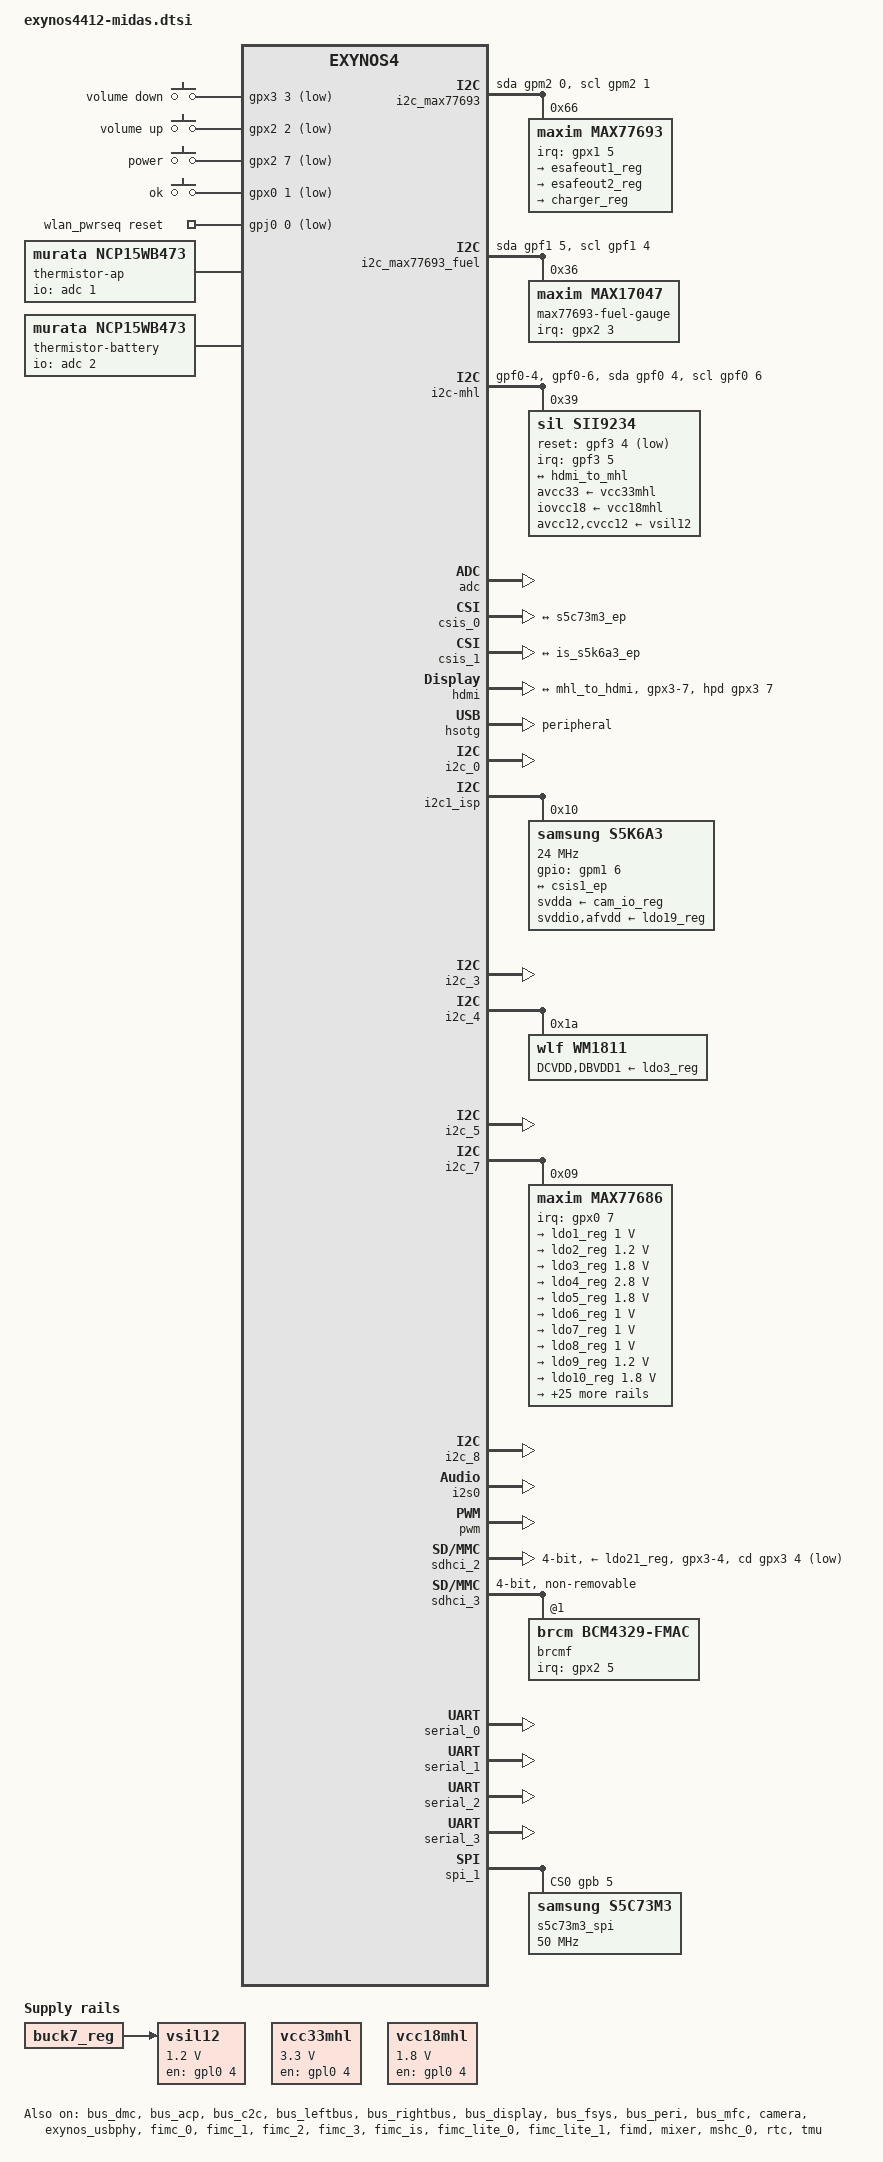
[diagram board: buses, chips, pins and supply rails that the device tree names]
// SPDX-License-Identifier: GPL-2.0
/*
 * Samsung's Exynos4412 based Trats 2 board device tree source
 *
 * Copyright (c) 2013 Samsung Electronics Co., Ltd.
 *		http://www.samsung.com
 *
 * Device tree source file for Samsung's Trats 2 board which is based on
 * Samsung's Exynos4412 SoC.
 */

/dts-v1/;
#include "exynos4412.dtsi"
#include "exynos4412-ppmu-common.dtsi"
#include <dt-bindings/gpio/gpio.h>
#include <dt-bindings/interrupt-controller/irq.h>
#include <dt-bindings/clock/maxim,max77686.h>
#include <dt-bindings/pinctrl/samsung.h>

/ {
	compatible = "samsung,midas", "samsung,exynos4412", "samsung,exynos4";

	aliases {
		i2c11 = &i2c_max77693;
		i2c12 = &i2c_max77693_fuel;
	};

	chosen {
		stdout-path = &serial_2;
	};

	firmware@204f000 {
		compatible = "samsung,secure-firmware";
		reg = <0x0204F000 0x1000>;
	};

	fixed-rate-clocks {
		xxti {
			compatible = "samsung,clock-xxti", "fixed-clock";
			clock-frequency = <0>;
		};

		xusbxti {
			compatible = "samsung,clock-xusbxti", "fixed-clock";
			clock-frequency = <24000000>;
		};
	};

	cam_io_reg: voltage-regulator-1 {
		compatible = "regulator-fixed";
		regulator-name = "CAM_SENSOR_A";
		regulator-min-microvolt = <2800000>;
		regulator-max-microvolt = <2800000>;
		enable-active-high;
		status = "disabled";
	};

	cam_af_reg: voltage-regulator-2 {
		compatible = "regulator-fixed";
		regulator-name = "CAM_AF";
		regulator-min-microvolt = <2800000>;
		regulator-max-microvolt = <2800000>;
		enable-active-high;
		status = "disabled";
	};

	vsil12: voltage-regulator-3 {
		compatible = "regulator-fixed";
		regulator-name = "VSIL_1.2V";
		regulator-min-microvolt = <1200000>;
		regulator-max-microvolt = <1200000>;
		gpio = <&gpl0 4 GPIO_ACTIVE_HIGH>;
		enable-active-high;
		vin-supply = <&buck7_reg>;
	};

	vcc33mhl: voltage-regulator-4 {
		compatible = "regulator-fixed";
		regulator-name = "VCC_3.3_MHL";
		regulator-min-microvolt = <3300000>;
		regulator-max-microvolt = <3300000>;
		gpio = <&gpl0 4 GPIO_ACTIVE_HIGH>;
		enable-active-high;
	};

	vcc18mhl: voltage-regulator-5 {
		compatible = "regulator-fixed";
		regulator-name = "VCC_1.8_MHL";
		regulator-min-microvolt = <1800000>;
		regulator-max-microvolt = <1800000>;
		gpio = <&gpl0 4 GPIO_ACTIVE_HIGH>;
		enable-active-high;
	};

	gpio-keys {
		compatible = "gpio-keys";
		pinctrl-names = "default";
		pinctrl-0 = <&gpio_keys>;

		key-down {
			gpios = <&gpx3 3 GPIO_ACTIVE_LOW>;
			linux,code = <114>;
			label = "volume down";
			debounce-interval = <10>;
		};

		key-up {
			gpios = <&gpx2 2 GPIO_ACTIVE_LOW>;
			linux,code = <115>;
			label = "volume up";
			debounce-interval = <10>;
		};

		key-power {
			gpios = <&gpx2 7 GPIO_ACTIVE_LOW>;
			linux,code = <116>;
			label = "power";
			debounce-interval = <10>;
			wakeup-source;
		};

		key-ok {
			gpios = <&gpx0 1 GPIO_ACTIVE_LOW>;
			linux,code = <139>;
			label = "ok";
			debounce-interval = <10>;
			wakeup-source;
		};
	};

	i2c_max77693: i2c-gpio-1 {
		compatible = "i2c-gpio";
		gpios = <&gpm2 0 GPIO_ACTIVE_HIGH>, <&gpm2 1 GPIO_ACTIVE_HIGH>;
		i2c-gpio,delay-us = <2>;
		#address-cells = <1>;
		#size-cells = <0>;
		status = "okay";

		max77693@66 {
			compatible = "maxim,max77693";
			interrupt-parent = <&gpx1>;
			interrupts = <5 IRQ_TYPE_EDGE_FALLING>;
			pinctrl-names = "default";
			pinctrl-0 = <&max77693_irq>;
			reg = <0x66>;

			regulators {
				esafeout1_reg: ESAFEOUT1 {
					regulator-name = "ESAFEOUT1";
				};
				esafeout2_reg: ESAFEOUT2 {
					regulator-name = "ESAFEOUT2";
				};
				charger_reg: CHARGER {
					regulator-name = "CHARGER";
					regulator-min-microamp = <60000>;
					regulator-max-microamp = <2580000>;
				};
			};

			max77693_haptic {
				compatible = "maxim,max77693-haptic";
				haptic-supply = <&ldo26_reg>;
				pwms = <&pwm 0 38022 0>;
			};

			charger {
				compatible = "maxim,max77693-charger";

				maxim,constant-microvolt = <4350000>;
				maxim,min-system-microvolt = <3600000>;
				maxim,thermal-regulation-celsius = <100>;
				maxim,battery-overcurrent-microamp = <3500000>;
				maxim,charge-input-threshold-microvolt = <4300000>;
			};
		};
	};

	i2c_max77693_fuel: i2c-gpio-3 {
		compatible = "i2c-gpio";
		gpios = <&gpf1 5 GPIO_ACTIVE_HIGH>, <&gpf1 4 GPIO_ACTIVE_HIGH>;
		i2c-gpio,delay-us = <2>;
		#address-cells = <1>;
		#size-cells = <0>;
		status = "okay";

		max77693-fuel-gauge@36 {
			compatible = "maxim,max17047";
			interrupt-parent = <&gpx2>;
			interrupts = <3 IRQ_TYPE_EDGE_FALLING>;
			pinctrl-names = "default";
			pinctrl-0 = <&max77693_fuel_irq>;
			reg = <0x36>;

			maxim,over-heat-temp = <700>;
			maxim,over-volt = <4500>;
		};
	};

	i2c-mhl {
		compatible = "i2c-gpio";
		gpios = <&gpf0 4 GPIO_ACTIVE_HIGH>, <&gpf0 6 GPIO_ACTIVE_HIGH>;
		i2c-gpio,delay-us = <100>;
		#address-cells = <1>;
		#size-cells = <0>;

		pinctrl-0 = <&i2c_mhl_bus>;
		pinctrl-names = "default";
		status = "okay";

		sii9234: hdmi-bridge@39 {
			compatible = "sil,sii9234";
			avcc33-supply = <&vcc33mhl>;
			iovcc18-supply = <&vcc18mhl>;
			avcc12-supply = <&vsil12>;
			cvcc12-supply = <&vsil12>;
			reset-gpios = <&gpf3 4 GPIO_ACTIVE_LOW>;
			interrupt-parent = <&gpf3>;
			interrupts = <5 IRQ_TYPE_LEVEL_HIGH>;
			reg = <0x39>;

			port {
				mhl_to_hdmi: endpoint {
					remote-endpoint = <&hdmi_to_mhl>;
				};
			};
		};
	};

	wlan_pwrseq: sdhci3-pwrseq {
		compatible = "mmc-pwrseq-simple";
		reset-gpios = <&gpj0 0 GPIO_ACTIVE_LOW>;
		clocks = <&max77686 MAX77686_CLK_PMIC>;
		clock-names = "ext_clock";
	};

	sound {
		compatible = "samsung,trats2-audio";
		samsung,i2s-controller = <&i2s0>;
		samsung,model = "Trats2";
		samsung,audio-codec = <&wm1811>;
		samsung,audio-routing =
			"SPK", "SPKOUTLN",
			"SPK", "SPKOUTLP",
			"SPK", "SPKOUTRN",
			"SPK", "SPKOUTRP";
	};

	thermistor-ap {
		compatible = "murata,ncp15wb473";
		pullup-uv = <1800000>;	 /* VCC_1.8V_AP */
		pullup-ohm = <100000>;	 /* 100K */
		pulldown-ohm = <100000>; /* 100K */
		io-channels = <&adc 1>;  /* AP temperature */
	};

	thermistor-battery {
		compatible = "murata,ncp15wb473";
		pullup-uv = <1800000>;	 /* VCC_1.8V_AP */
		pullup-ohm = <100000>;	 /* 100K */
		pulldown-ohm = <100000>; /* 100K */
		io-channels = <&adc 2>;  /* Battery temperature */
	};

	thermal-zones {
		cpu_thermal: cpu-thermal {
			cooling-maps {
				map0 {
				     /* Corresponds to 800MHz at freq_table */
				     cooling-device = <&cpu0 7 7>;
				};
				map1 {
				     /* Corresponds to 200MHz at freq_table */
				     cooling-device = <&cpu0 13 13>;
			       };
		       };
		};
	};
};

&adc {
	vdd-supply = <&ldo3_reg>;
	status = "okay";
};

&bus_dmc {
	devfreq-events = <&ppmu_dmc0_3>, <&ppmu_dmc1_3>;
	vdd-supply = <&buck1_reg>;
	status = "okay";
};

&bus_acp {
	devfreq = <&bus_dmc>;
	status = "okay";
};

&bus_c2c {
	devfreq = <&bus_dmc>;
	status = "okay";
};

&bus_leftbus {
	devfreq-events = <&ppmu_leftbus_3>, <&ppmu_rightbus_3>;
	vdd-supply = <&buck3_reg>;
	status = "okay";
};

&bus_rightbus {
	devfreq = <&bus_leftbus>;
	status = "okay";
};

&bus_display {
	devfreq = <&bus_leftbus>;
	status = "okay";
};

&bus_fsys {
	devfreq = <&bus_leftbus>;
	status = "okay";
};

&bus_peri {
	devfreq = <&bus_leftbus>;
	status = "okay";
};

&bus_mfc {
	devfreq = <&bus_leftbus>;
	status = "okay";
};

&camera {
	pinctrl-0 = <&cam_port_a_clk_active &cam_port_b_clk_active>;
	pinctrl-names = "default";
	status = "okay";
	assigned-clocks = <&clock CLK_MOUT_CAM0>,
		<&clock CLK_MOUT_CAM1>;
	assigned-clock-parents = <&clock CLK_XUSBXTI>,
		<&clock CLK_XUSBXTI>;
};

&cpu0 {
	cpu0-supply = <&buck2_reg>;
};

&csis_0 {
	status = "okay";
	vddcore-supply = <&ldo8_reg>;
	vddio-supply = <&ldo10_reg>;
	assigned-clocks = <&clock CLK_MOUT_CSIS0>,
			<&clock CLK_SCLK_CSIS0>;
	assigned-clock-parents = <&clock CLK_MOUT_MPLL_USER_T>;
	assigned-clock-rates = <0>, <176000000>;

	/* Camera C (3) MIPI CSI-2 (CSIS0) */
	port@3 {
		reg = <3>;
		csis0_ep: endpoint {
			remote-endpoint = <&s5c73m3_ep>;
			data-lanes = <1 2 3 4>;
			samsung,csis-hs-settle = <12>;
		};
	};
};

&csis_1 {
	status = "okay";
	vddcore-supply = <&ldo8_reg>;
	vddio-supply = <&ldo10_reg>;
	assigned-clocks = <&clock CLK_MOUT_CSIS1>,
			<&clock CLK_SCLK_CSIS1>;
	assigned-clock-parents = <&clock CLK_MOUT_MPLL_USER_T>;
	assigned-clock-rates = <0>, <176000000>;

	/* Camera D (4) MIPI CSI-2 (CSIS1) */
	port@4 {
		reg = <4>;
		csis1_ep: endpoint {
			remote-endpoint = <&is_s5k6a3_ep>;
			data-lanes = <1>;
			samsung,csis-hs-settle = <18>;
			samsung,csis-wclk;
		};
	};
};

&dsi_0 {
	vddcore-supply = <&ldo8_reg>;
	vddio-supply = <&ldo10_reg>;
	samsung,burst-clock-frequency = <500000000>;
	samsung,esc-clock-frequency = <20000000>;
	samsung,pll-clock-frequency = <24000000>;
};

&exynos_usbphy {
	vbus-supply = <&esafeout1_reg>;
	status = "okay";
};

&fimc_0 {
	status = "okay";
	assigned-clocks = <&clock CLK_MOUT_FIMC0>,
			<&clock CLK_SCLK_FIMC0>;
	assigned-clock-parents = <&clock CLK_MOUT_MPLL_USER_T>;
	assigned-clock-rates = <0>, <176000000>;
};

&fimc_1 {
	status = "okay";
	assigned-clocks = <&clock CLK_MOUT_FIMC1>,
			<&clock CLK_SCLK_FIMC1>;
	assigned-clock-parents = <&clock CLK_MOUT_MPLL_USER_T>;
	assigned-clock-rates = <0>, <176000000>;
};

&fimc_2 {
	status = "okay";
	assigned-clocks = <&clock CLK_MOUT_FIMC2>,
			<&clock CLK_SCLK_FIMC2>;
	assigned-clock-parents = <&clock CLK_MOUT_MPLL_USER_T>;
	assigned-clock-rates = <0>, <176000000>;
};

&fimc_3 {
	status = "okay";
	assigned-clocks = <&clock CLK_MOUT_FIMC3>,
			<&clock CLK_SCLK_FIMC3>;
	assigned-clock-parents = <&clock CLK_MOUT_MPLL_USER_T>;
	assigned-clock-rates = <0>, <176000000>;
};

&fimc_is {
	pinctrl-0 = <&fimc_is_uart>;
	pinctrl-names = "default";
	status = "okay";

	};

&fimc_lite_0 {
	status = "okay";
};

&fimc_lite_1 {
	status = "okay";
};

&fimd {
	status = "okay";
};

&hdmi {
	hpd-gpios = <&gpx3 7 GPIO_ACTIVE_HIGH>;
	pinctrl-names = "default";
	pinctrl-0 = <&hdmi_hpd>;
	vdd-supply = <&ldo3_reg>;
	vdd_osc-supply = <&ldo4_reg>;
	vdd_pll-supply = <&ldo3_reg>;
	ddc = <&i2c_5>;
	status = "okay";

	ports {
		#address-cells = <1>;
		#size-cells = <0>;

		port@1 {
			reg = <1>;
			hdmi_to_mhl: endpoint {
				remote-endpoint = <&mhl_to_hdmi>;
			};
		};
	};
};

&hsotg {
	vusb_d-supply = <&ldo15_reg>;
	vusb_a-supply = <&ldo12_reg>;
	dr_mode = "peripheral";
	status = "okay";
};

&i2c_0 {
	samsung,i2c-sda-delay = <100>;
	samsung,i2c-slave-addr = <0x10>;
	samsung,i2c-max-bus-freq = <400000>;
	pinctrl-0 = <&i2c0_bus>;
	pinctrl-names = "default";
	status = "okay";

	s5c73m3: s5c73m3@3c {
		compatible = "samsung,s5c73m3";
		reg = <0x3c>;
		xshutdown-gpios = <&gpf1 3 GPIO_ACTIVE_LOW>; /* ISP_RESET */
		vdd-int-supply = <&buck9_reg>;
		vddio-cis-supply = <&ldo9_reg>;
		vddio-host-supply = <&ldo18_reg>;
		vdd-af-supply = <&cam_af_reg>;
		vdd-reg-supply = <&cam_io_reg>;
		clock-frequency = <24000000>;
		/* CAM_A_CLKOUT */
		clocks = <&camera 0>;
		clock-names = "cis_extclk";
		status = "disabled";
		port {
			s5c73m3_ep: endpoint {
				remote-endpoint = <&csis0_ep>;
				data-lanes = <1 2 3 4>;
			};
		};
	};
};

&i2c1_isp {
	pinctrl-0 = <&fimc_is_i2c1>;
	pinctrl-names = "default";

	s5k6a3@10 {
		compatible = "samsung,s5k6a3";
		reg = <0x10>;
		svdda-supply = <&cam_io_reg>;
		svddio-supply = <&ldo19_reg>;
		afvdd-supply = <&ldo19_reg>;
		clock-frequency = <24000000>;
		/* CAM_B_CLKOUT */
		clocks = <&camera 1>;
		clock-names = "extclk";
		samsung,camclk-out = <1>;
		gpios = <&gpm1 6 GPIO_ACTIVE_HIGH>;

		port {
			is_s5k6a3_ep: endpoint {
				remote-endpoint = <&csis1_ep>;
				data-lanes = <1>;
			};
		};
	};
};

&i2c_3 {
	samsung,i2c-sda-delay = <100>;
	samsung,i2c-slave-addr = <0x10>;
	samsung,i2c-max-bus-freq = <400000>;
	pinctrl-0 = <&i2c3_bus>;
	pinctrl-names = "default";
	status = "okay";
};

&i2c_4 {
	samsung,i2c-sda-delay = <100>;
	samsung,i2c-slave-addr = <0x10>;
	samsung,i2c-max-bus-freq = <100000>;
	pinctrl-0 = <&i2c4_bus>;
	pinctrl-names = "default";
	status = "okay";

	wm1811: wm1811@1a {
		compatible = "wlf,wm1811";
		reg = <0x1a>;
		clocks = <&pmu_system_controller 0>;
		clock-names = "MCLK1";
		DCVDD-supply = <&ldo3_reg>;
		DBVDD1-supply = <&ldo3_reg>;
		wlf,ldo1ena = <&gpj0 4 0>;
	};
};

&i2c_5 {
	status = "okay";
};

&i2c_7 {
	samsung,i2c-sda-delay = <100>;
	samsung,i2c-slave-addr = <0x10>;
	samsung,i2c-max-bus-freq = <100000>;
	pinctrl-0 = <&i2c7_bus>;
	pinctrl-names = "default";
	status = "okay";

	max77686: max77686_pmic@9 {
		compatible = "maxim,max77686";
		interrupt-parent = <&gpx0>;
		interrupts = <7 IRQ_TYPE_NONE>;
		pinctrl-0 = <&max77686_irq>;
		pinctrl-names = "default";
		reg = <0x09>;
		#clock-cells = <1>;

		voltage-regulators {
			ldo1_reg: LDO1 {
				regulator-name = "VALIVE_1.0V_AP";
				regulator-min-microvolt = <1000000>;
				regulator-max-microvolt = <1000000>;
				regulator-always-on;
			};

			ldo2_reg: LDO2 {
				regulator-name = "VM1M2_1.2V_AP";
				regulator-min-microvolt = <1200000>;
				regulator-max-microvolt = <1200000>;
				regulator-always-on;
				regulator-state-mem {
					regulator-on-in-suspend;
				};
			};

			ldo3_reg: LDO3 {
				regulator-name = "VCC_1.8V_AP";
				regulator-min-microvolt = <1800000>;
				regulator-max-microvolt = <1800000>;
				regulator-always-on;
			};

			ldo4_reg: LDO4 {
				regulator-name = "VCC_2.8V_AP";
				regulator-min-microvolt = <2800000>;
				regulator-max-microvolt = <2800000>;
				regulator-always-on;
			};

			ldo5_reg: LDO5 {
				regulator-name = "VCC_1.8V_IO";
				regulator-min-microvolt = <1800000>;
				regulator-max-microvolt = <1800000>;
				regulator-always-on;
			};

			ldo6_reg: LDO6 {
				regulator-name = "VMPLL_1.0V_AP";
				regulator-min-microvolt = <1000000>;
				regulator-max-microvolt = <1000000>;
				regulator-always-on;
				regulator-state-mem {
					regulator-on-in-suspend;
				};
			};

			ldo7_reg: LDO7 {
				regulator-name = "VPLL_1.0V_AP";
				regulator-min-microvolt = <1000000>;
				regulator-max-microvolt = <1000000>;
				regulator-always-on;
				regulator-state-mem {
					regulator-on-in-suspend;
				};
			};

			ldo8_reg: LDO8 {
				regulator-name = "VMIPI_1.0V";
				regulator-min-microvolt = <1000000>;
				regulator-max-microvolt = <1000000>;
				regulator-state-mem {
					regulator-off-in-suspend;
				};
			};

			ldo9_reg: LDO9 {
				regulator-name = "CAM_ISP_MIPI_1.2V";
				regulator-min-microvolt = <1200000>;
				regulator-max-microvolt = <1200000>;
			};

			ldo10_reg: LDO10 {
				regulator-name = "VMIPI_1.8V";
				regulator-min-microvolt = <1800000>;
				regulator-max-microvolt = <1800000>;
				regulator-state-mem {
					regulator-off-in-suspend;
				};
			};

			ldo11_reg: LDO11 {
				regulator-name = "VABB1_1.95V";
				regulator-min-microvolt = <1950000>;
				regulator-max-microvolt = <1950000>;
				regulator-always-on;
				regulator-state-mem {
					regulator-off-in-suspend;
				};
			};

			ldo12_reg: LDO12 {
				regulator-name = "VUOTG_3.0V";
				regulator-min-microvolt = <3000000>;
				regulator-max-microvolt = <3000000>;
				regulator-state-mem {
					regulator-off-in-suspend;
				};
			};

			ldo13_reg: LDO13 {
				regulator-name = "NFC_AVDD_1.8V";
				regulator-min-microvolt = <1800000>;
				regulator-max-microvolt = <1800000>;
			};

			ldo14_reg: LDO14 {
				regulator-name = "VABB2_1.95V";
				regulator-min-microvolt = <1950000>;
				regulator-max-microvolt = <1950000>;
				regulator-always-on;
				regulator-state-mem {
					regulator-off-in-suspend;
				};
			};

			ldo15_reg: LDO15 {
				regulator-name = "VHSIC_1.0V";
				regulator-min-microvolt = <1000000>;
				regulator-max-microvolt = <1000000>;
				regulator-state-mem {
					regulator-on-in-suspend;
				};
			};

			ldo16_reg: LDO16 {
				regulator-name = "VHSIC_1.8V";
				regulator-min-microvolt = <1800000>;
				regulator-max-microvolt = <1800000>;
				regulator-state-mem {
					regulator-on-in-suspend;
				};
			};

			ldo17_reg: LDO17 {
				regulator-name = "CAM_SENSOR_CORE_1.2V";
				regulator-min-microvolt = <1200000>;
				regulator-max-microvolt = <1200000>;
			};

			ldo18_reg: LDO18 {
				regulator-name = "CAM_ISP_SEN_IO_1.8V";
				regulator-min-microvolt = <1800000>;
				regulator-max-microvolt = <1800000>;
			};

			ldo19_reg: LDO19 {
				regulator-name = "VT_CAM_1.8V";
				regulator-min-microvolt = <1800000>;
				regulator-max-microvolt = <1800000>;
			};

			ldo20_reg: LDO20 {
				regulator-name = "VDDQ_PRE_1.8V";
				regulator-min-microvolt = <1800000>;
				regulator-max-microvolt = <1800000>;
			};

			ldo21_reg: LDO21 {
				regulator-name = "VTF_2.8V";
				regulator-min-microvolt = <2800000>;
				regulator-max-microvolt = <2800000>;
				maxim,ena-gpios = <&gpy2 0 GPIO_ACTIVE_HIGH>;
			};

			ldo22_reg: LDO22 {
				regulator-name = "VMEM_VDD_2.8V";
				regulator-min-microvolt = <2800000>;
				regulator-max-microvolt = <2800000>;
				maxim,ena-gpios = <&gpk0 2 GPIO_ACTIVE_HIGH>;
			};

			ldo23_reg: LDO23 {
				regulator-name = "TSP_AVDD_3.3V";
				regulator-min-microvolt = <3300000>;
				regulator-max-microvolt = <3300000>;
			};

			ldo24_reg: LDO24 {
				regulator-name = "TSP_VDD_1.8V";
				regulator-min-microvolt = <1800000>;
				regulator-max-microvolt = <1800000>;
			};

			ldo25_reg: LDO25 {
				regulator-name = "LDO25";
			};

			ldo26_reg: LDO26 {
				regulator-name = "MOTOR_VCC_3.0V";
				regulator-min-microvolt = <3000000>;
				regulator-max-microvolt = <3000000>;
			};

			buck1_reg: BUCK1 {
				regulator-name = "vdd_mif";
				regulator-min-microvolt = <850000>;
				regulator-max-microvolt = <1100000>;
				regulator-always-on;
				regulator-boot-on;
				regulator-state-mem {
					regulator-off-in-suspend;
				};
			};

			buck2_reg: BUCK2 {
				regulator-name = "vdd_arm";
				regulator-min-microvolt = <850000>;
				regulator-max-microvolt = <1500000>;
				regulator-always-on;
				regulator-boot-on;
				regulator-state-mem {
					regulator-on-in-suspend;
				};
			};

			buck3_reg: BUCK3 {
				regulator-name = "vdd_int";
				regulator-min-microvolt = <850000>;
				regulator-max-microvolt = <1150000>;
				regulator-always-on;
				regulator-boot-on;
				regulator-state-mem {
					regulator-off-in-suspend;
				};
			};

			buck4_reg: BUCK4 {
				regulator-name = "vdd_g3d";
				regulator-min-microvolt = <850000>;
				regulator-max-microvolt = <1150000>;
				regulator-boot-on;
				regulator-state-mem {
					regulator-off-in-suspend;
				};
			};

			buck5_reg: BUCK5 {
				regulator-name = "VMEM_1.2V_AP";
				regulator-min-microvolt = <1200000>;
				regulator-max-microvolt = <1200000>;
				regulator-always-on;
			};

			buck6_reg: BUCK6 {
				regulator-name = "VCC_SUB_1.35V";
				regulator-min-microvolt = <1350000>;
				regulator-max-microvolt = <1350000>;
				regulator-always-on;
			};

			buck7_reg: BUCK7 {
				regulator-name = "VCC_SUB_2.0V";
				regulator-min-microvolt = <2000000>;
				regulator-max-microvolt = <2000000>;
				regulator-always-on;
			};

			buck8_reg: BUCK8 {
				regulator-name = "VMEM_VDDF_3.0V";
				regulator-min-microvolt = <2850000>;
				regulator-max-microvolt = <2850000>;
				maxim,ena-gpios = <&gpk0 2 GPIO_ACTIVE_HIGH>;
			};

			buck9_reg: BUCK9 {
				regulator-name = "CAM_ISP_CORE_1.2V";
				regulator-min-microvolt = <1000000>;
				regulator-max-microvolt = <1200000>;
			};
		};
	};
};

&i2c_8 {
	status = "okay";
};

&i2s0 {
	pinctrl-0 = <&i2s0_bus>;
	pinctrl-names = "default";
	status = "okay";
};

&mixer {
	status = "okay";
};

&mshc_0 {
	broken-cd;
	non-removable;
	card-detect-delay = <200>;
	vmmc-supply = <&ldo22_reg>;
	clock-frequency = <400000000>;
	samsung,dw-mshc-ciu-div = <0>;
	samsung,dw-mshc-sdr-timing = <2 3>;
	samsung,dw-mshc-ddr-timing = <1 2>;
	pinctrl-0 = <&sd4_clk &sd4_cmd &sd4_bus4 &sd4_bus8>;
	pinctrl-names = "default";
	status = "okay";
	bus-width = <8>;
	cap-mmc-highspeed;
};

&pmu_system_controller {
	assigned-clocks = <&pmu_system_controller 0>;
	assigned-clock-parents =  <&clock CLK_XUSBXTI>;
};

&pinctrl_0 {
	pinctrl-names = "default";
	pinctrl-0 = <&sleep0>;

	mhl_int: mhl-int {
		samsung,pins = "gpf3-5";
		samsung,pin-pud = <EXYNOS_PIN_PULL_NONE>;
	};

	i2c_mhl_bus: i2c-mhl-bus {
		samsung,pins = "gpf0-4", "gpf0-6";
		samsung,pin-function = <EXYNOS_PIN_FUNC_2>;
		samsung,pin-pud = <EXYNOS_PIN_PULL_DOWN>;
		samsung,pin-drv = <EXYNOS4_PIN_DRV_LV1>;
	};

	sleep0: sleep-states {
		PIN_SLP(gpa0-0, INPUT, NONE);
		PIN_SLP(gpa0-1, OUT0, NONE);
		PIN_SLP(gpa0-2, INPUT, NONE);
		PIN_SLP(gpa0-3, INPUT, UP);
		PIN_SLP(gpa0-4, INPUT, NONE);
		PIN_SLP(gpa0-5, INPUT, DOWN);
		PIN_SLP(gpa0-6, INPUT, DOWN);
		PIN_SLP(gpa0-7, INPUT, UP);

		PIN_SLP(gpa1-0, INPUT, DOWN);
		PIN_SLP(gpa1-1, INPUT, DOWN);
		PIN_SLP(gpa1-2, INPUT, DOWN);
		PIN_SLP(gpa1-3, INPUT, DOWN);
		PIN_SLP(gpa1-4, INPUT, DOWN);
		PIN_SLP(gpa1-5, INPUT, DOWN);

		PIN_SLP(gpb-0, INPUT, NONE);
		PIN_SLP(gpb-1, INPUT, NONE);
		PIN_SLP(gpb-2, INPUT, NONE);
		PIN_SLP(gpb-3, INPUT, NONE);
		PIN_SLP(gpb-4, INPUT, DOWN);
		PIN_SLP(gpb-5, INPUT, UP);
		PIN_SLP(gpb-6, INPUT, DOWN);
		PIN_SLP(gpb-7, INPUT, DOWN);

		PIN_SLP(gpc0-0, INPUT, DOWN);
		PIN_SLP(gpc0-1, INPUT, DOWN);
		PIN_SLP(gpc0-2, INPUT, DOWN);
		PIN_SLP(gpc0-3, INPUT, DOWN);
		PIN_SLP(gpc0-4, INPUT, DOWN);

		PIN_SLP(gpc1-0, INPUT, NONE);
		PIN_SLP(gpc1-1, PREV, NONE);
		PIN_SLP(gpc1-2, INPUT, NONE);
		PIN_SLP(gpc1-3, INPUT, NONE);
		PIN_SLP(gpc1-4, INPUT, NONE);

		PIN_SLP(gpd0-0, INPUT, DOWN);
		PIN_SLP(gpd0-1, INPUT, DOWN);
		PIN_SLP(gpd0-2, INPUT, NONE);
		PIN_SLP(gpd0-3, INPUT, NONE);

		PIN_SLP(gpd1-0, INPUT, DOWN);
		PIN_SLP(gpd1-1, INPUT, DOWN);
		PIN_SLP(gpd1-2, INPUT, NONE);
		PIN_SLP(gpd1-3, INPUT, NONE);

		PIN_SLP(gpf0-0, INPUT, NONE);
		PIN_SLP(gpf0-1, INPUT, NONE);
		PIN_SLP(gpf0-2, INPUT, DOWN);
		PIN_SLP(gpf0-3, INPUT, DOWN);
		PIN_SLP(gpf0-4, INPUT, NONE);
		PIN_SLP(gpf0-5, INPUT, DOWN);
		PIN_SLP(gpf0-6, INPUT, NONE);
		PIN_SLP(gpf0-7, INPUT, DOWN);

		PIN_SLP(gpf1-0, INPUT, DOWN);
		PIN_SLP(gpf1-1, INPUT, DOWN);
		PIN_SLP(gpf1-2, INPUT, DOWN);
		PIN_SLP(gpf1-3, INPUT, DOWN);
		PIN_SLP(gpf1-4, INPUT, NONE);
		PIN_SLP(gpf1-5, INPUT, NONE);
		PIN_SLP(gpf1-6, INPUT, DOWN);
		PIN_SLP(gpf1-7, PREV, NONE);

		PIN_SLP(gpf2-0, PREV, NONE);
		PIN_SLP(gpf2-1, INPUT, DOWN);
		PIN_SLP(gpf2-2, INPUT, DOWN);
		PIN_SLP(gpf2-3, INPUT, DOWN);
		PIN_SLP(gpf2-4, INPUT, DOWN);
		PIN_SLP(gpf2-5, INPUT, DOWN);
		PIN_SLP(gpf2-6, INPUT, NONE);
		PIN_SLP(gpf2-7, INPUT, NONE);

		PIN_SLP(gpf3-0, INPUT, NONE);
		PIN_SLP(gpf3-1, PREV, NONE);
		PIN_SLP(gpf3-2, PREV, NONE);
		PIN_SLP(gpf3-3, PREV, NONE);
		PIN_SLP(gpf3-4, OUT1, NONE);
		PIN_SLP(gpf3-5, INPUT, DOWN);

		PIN_SLP(gpj0-0, PREV, NONE);
		PIN_SLP(gpj0-1, PREV, NONE);
		PIN_SLP(gpj0-2, PREV, NONE);
		PIN_SLP(gpj0-3, INPUT, DOWN);
		PIN_SLP(gpj0-4, PREV, NONE);
		PIN_SLP(gpj0-5, PREV, NONE);
		PIN_SLP(gpj0-6, INPUT, DOWN);
		PIN_SLP(gpj0-7, INPUT, DOWN);

		PIN_SLP(gpj1-0, INPUT, DOWN);
		PIN_SLP(gpj1-1, PREV, NONE);
		PIN_SLP(gpj1-2, PREV, NONE);
		PIN_SLP(gpj1-3, INPUT, DOWN);
		PIN_SLP(gpj1-4, INPUT, DOWN);
	};
};

&pinctrl_1 {
	pinctrl-names = "default";
	pinctrl-0 = <&sleep1>;

	gpio_keys: gpio-keys {
		samsung,pins = "gpx0-1", "gpx2-2", "gpx2-7", "gpx3-3";
		samsung,pin-pud = <EXYNOS_PIN_PULL_NONE>;
	};

	max77686_irq: max77686-irq {
		samsung,pins = "gpx0-7";
		samsung,pin-pud = <EXYNOS_PIN_PULL_NONE>;
	};

	max77693_irq: max77693-irq {
		samsung,pins = "gpx1-5";
		samsung,pin-pud = <EXYNOS_PIN_PULL_NONE>;
	};

	max77693_fuel_irq: max77693-fuel-irq {
		samsung,pins = "gpx2-3";
		samsung,pin-pud = <EXYNOS_PIN_PULL_NONE>;
	};

	sdhci2_cd: sdhci2-cd-irq {
		samsung,pins = "gpx3-4";
		samsung,pin-pud = <EXYNOS_PIN_PULL_NONE>;
	};

	hdmi_hpd: hdmi-hpd {
		samsung,pins = "gpx3-7";
		samsung,pin-pud = <EXYNOS_PIN_PULL_DOWN>;
	};

	sleep1: sleep-states {
		PIN_SLP(gpk0-0, PREV, NONE);
		PIN_SLP(gpk0-1, PREV, NONE);
		PIN_SLP(gpk0-2, OUT0, NONE);
		PIN_SLP(gpk0-3, PREV, NONE);
		PIN_SLP(gpk0-4, PREV, NONE);
		PIN_SLP(gpk0-5, PREV, NONE);
		PIN_SLP(gpk0-6, PREV, NONE);

		PIN_SLP(gpk1-0, INPUT, DOWN);
		PIN_SLP(gpk1-1, INPUT, DOWN);
		PIN_SLP(gpk1-2, INPUT, DOWN);
		PIN_SLP(gpk1-3, PREV, NONE);
		PIN_SLP(gpk1-4, PREV, NONE);
		PIN_SLP(gpk1-5, PREV, NONE);
		PIN_SLP(gpk1-6, PREV, NONE);

		PIN_SLP(gpk2-0, INPUT, DOWN);
		PIN_SLP(gpk2-1, INPUT, DOWN);
		PIN_SLP(gpk2-2, INPUT, DOWN);
		PIN_SLP(gpk2-3, INPUT, DOWN);
		PIN_SLP(gpk2-4, INPUT, DOWN);
		PIN_SLP(gpk2-5, INPUT, DOWN);
		PIN_SLP(gpk2-6, INPUT, DOWN);

		PIN_SLP(gpk3-0, OUT0, NONE);
		PIN_SLP(gpk3-1, INPUT, NONE);
		PIN_SLP(gpk3-2, INPUT, DOWN);
		PIN_SLP(gpk3-3, INPUT, NONE);
		PIN_SLP(gpk3-4, INPUT, NONE);
		PIN_SLP(gpk3-5, INPUT, NONE);
		PIN_SLP(gpk3-6, INPUT, NONE);

		PIN_SLP(gpl0-0, INPUT, DOWN);
		PIN_SLP(gpl0-1, INPUT, DOWN);
		PIN_SLP(gpl0-2, INPUT, DOWN);
		PIN_SLP(gpl0-3, INPUT, DOWN);
		PIN_SLP(gpl0-4, PREV, NONE);
		PIN_SLP(gpl0-6, PREV, NONE);

		PIN_SLP(gpl1-0, INPUT, DOWN);
		PIN_SLP(gpl1-1, INPUT, DOWN);
		PIN_SLP(gpl2-0, INPUT, DOWN);
		PIN_SLP(gpl2-1, INPUT, DOWN);
		PIN_SLP(gpl2-2, INPUT, DOWN);
		PIN_SLP(gpl2-3, INPUT, DOWN);
		PIN_SLP(gpl2-4, INPUT, DOWN);
		PIN_SLP(gpl2-5, INPUT, DOWN);
		PIN_SLP(gpl2-6, PREV, NONE);
		PIN_SLP(gpl2-7, INPUT, DOWN);

		PIN_SLP(gpm0-0, INPUT, DOWN);
		PIN_SLP(gpm0-1, INPUT, DOWN);
		PIN_SLP(gpm0-2, INPUT, DOWN);
		PIN_SLP(gpm0-3, INPUT, DOWN);
		PIN_SLP(gpm0-4, INPUT, DOWN);
		PIN_SLP(gpm0-5, INPUT, DOWN);
		PIN_SLP(gpm0-6, INPUT, DOWN);
		PIN_SLP(gpm0-7, INPUT, DOWN);

		PIN_SLP(gpm1-0, INPUT, DOWN);
		PIN_SLP(gpm1-1, INPUT, DOWN);
		PIN_SLP(gpm1-2, INPUT, NONE);
		PIN_SLP(gpm1-3, INPUT, NONE);
		PIN_SLP(gpm1-4, INPUT, NONE);
		PIN_SLP(gpm1-5, INPUT, NONE);
		PIN_SLP(gpm1-6, INPUT, DOWN);

		PIN_SLP(gpm2-0, INPUT, NONE);
		PIN_SLP(gpm2-1, INPUT, NONE);
		PIN_SLP(gpm2-2, INPUT, DOWN);
		PIN_SLP(gpm2-3, INPUT, DOWN);
		PIN_SLP(gpm2-4, INPUT, DOWN);

		PIN_SLP(gpm3-0, PREV, NONE);
		PIN_SLP(gpm3-1, PREV, NONE);
		PIN_SLP(gpm3-2, PREV, NONE);
		PIN_SLP(gpm3-3, OUT1, NONE);
		PIN_SLP(gpm3-4, INPUT, DOWN);
		PIN_SLP(gpm3-5, INPUT, DOWN);
		PIN_SLP(gpm3-6, INPUT, DOWN);
		PIN_SLP(gpm3-7, INPUT, DOWN);

		PIN_SLP(gpm4-0, INPUT, DOWN);
		PIN_SLP(gpm4-1, INPUT, DOWN);
		PIN_SLP(gpm4-2, INPUT, DOWN);
		PIN_SLP(gpm4-3, INPUT, DOWN);
		PIN_SLP(gpm4-4, INPUT, DOWN);
		PIN_SLP(gpm4-5, INPUT, DOWN);
		PIN_SLP(gpm4-6, INPUT, DOWN);
		PIN_SLP(gpm4-7, INPUT, DOWN);

		PIN_SLP(gpy0-0, INPUT, DOWN);
		PIN_SLP(gpy0-1, INPUT, DOWN);
		PIN_SLP(gpy0-2, INPUT, DOWN);
		PIN_SLP(gpy0-3, INPUT, DOWN);
		PIN_SLP(gpy0-4, INPUT, DOWN);
		PIN_SLP(gpy0-5, INPUT, DOWN);

		PIN_SLP(gpy1-0, INPUT, DOWN);
		PIN_SLP(gpy1-1, INPUT, DOWN);
		PIN_SLP(gpy1-2, INPUT, DOWN);
		PIN_SLP(gpy1-3, INPUT, DOWN);

		PIN_SLP(gpy2-0, PREV, NONE);
		PIN_SLP(gpy2-1, INPUT, DOWN);
		PIN_SLP(gpy2-2, INPUT, NONE);
		PIN_SLP(gpy2-3, INPUT, NONE);
		PIN_SLP(gpy2-4, INPUT, NONE);
		PIN_SLP(gpy2-5, INPUT, NONE);

		PIN_SLP(gpy3-0, INPUT, DOWN);
		PIN_SLP(gpy3-1, INPUT, DOWN);
		PIN_SLP(gpy3-2, INPUT, DOWN);
		PIN_SLP(gpy3-3, INPUT, DOWN);
		PIN_SLP(gpy3-4, INPUT, DOWN);
		PIN_SLP(gpy3-5, INPUT, DOWN);
		PIN_SLP(gpy3-6, INPUT, DOWN);
		PIN_SLP(gpy3-7, INPUT, DOWN);

		PIN_SLP(gpy4-0, INPUT, DOWN);
		PIN_SLP(gpy4-1, INPUT, DOWN);
		PIN_SLP(gpy4-2, INPUT, DOWN);
		PIN_SLP(gpy4-3, INPUT, DOWN);
		PIN_SLP(gpy4-4, INPUT, DOWN);
		PIN_SLP(gpy4-5, INPUT, DOWN);
		PIN_SLP(gpy4-6, INPUT, DOWN);
		PIN_SLP(gpy4-7, INPUT, DOWN);

		PIN_SLP(gpy5-0, INPUT, DOWN);
		PIN_SLP(gpy5-1, INPUT, DOWN);
		PIN_SLP(gpy5-2, INPUT, DOWN);
		PIN_SLP(gpy5-3, INPUT, DOWN);
		PIN_SLP(gpy5-4, INPUT, DOWN);
		PIN_SLP(gpy5-5, INPUT, DOWN);
		PIN_SLP(gpy5-6, INPUT, DOWN);
		PIN_SLP(gpy5-7, INPUT, DOWN);

		PIN_SLP(gpy6-0, INPUT, DOWN);
		PIN_SLP(gpy6-1, INPUT, DOWN);
		PIN_SLP(gpy6-2, INPUT, DOWN);
		PIN_SLP(gpy6-3, INPUT, DOWN);
		PIN_SLP(gpy6-4, INPUT, DOWN);
		PIN_SLP(gpy6-5, INPUT, DOWN);
		PIN_SLP(gpy6-6, INPUT, DOWN);
		PIN_SLP(gpy6-7, INPUT, DOWN);
	};
};

&pinctrl_2 {
	pinctrl-names = "default";
	pinctrl-0 = <&sleep2>;

	sleep2: sleep-states {
		PIN_SLP(gpz-0, INPUT, DOWN);
		PIN_SLP(gpz-1, INPUT, DOWN);
		PIN_SLP(gpz-2, INPUT, DOWN);
		PIN_SLP(gpz-3, INPUT, DOWN);
		PIN_SLP(gpz-4, INPUT, DOWN);
		PIN_SLP(gpz-5, INPUT, DOWN);
		PIN_SLP(gpz-6, INPUT, DOWN);
	};
};

&pinctrl_3 {
	pinctrl-names = "default";
	pinctrl-0 = <&sleep3>;

	sleep3: sleep-states {
		PIN_SLP(gpv0-0, INPUT, DOWN);
		PIN_SLP(gpv0-1, INPUT, DOWN);
		PIN_SLP(gpv0-2, INPUT, DOWN);
		PIN_SLP(gpv0-3, INPUT, DOWN);
		PIN_SLP(gpv0-4, INPUT, DOWN);
		PIN_SLP(gpv0-5, INPUT, DOWN);
		PIN_SLP(gpv0-6, INPUT, DOWN);
		PIN_SLP(gpv0-7, INPUT, DOWN);

		PIN_SLP(gpv1-0, INPUT, DOWN);
		PIN_SLP(gpv1-1, INPUT, DOWN);
		PIN_SLP(gpv1-2, INPUT, DOWN);
		PIN_SLP(gpv1-3, INPUT, DOWN);
		PIN_SLP(gpv1-4, INPUT, DOWN);
		PIN_SLP(gpv1-5, INPUT, DOWN);
		PIN_SLP(gpv1-6, INPUT, DOWN);
		PIN_SLP(gpv1-7, INPUT, DOWN);

		PIN_SLP(gpv2-0, INPUT, DOWN);
		PIN_SLP(gpv2-1, INPUT, DOWN);
		PIN_SLP(gpv2-2, INPUT, DOWN);
		PIN_SLP(gpv2-3, INPUT, DOWN);
		PIN_SLP(gpv2-4, INPUT, DOWN);
		PIN_SLP(gpv2-5, INPUT, DOWN);
		PIN_SLP(gpv2-6, INPUT, DOWN);
		PIN_SLP(gpv2-7, INPUT, DOWN);

		PIN_SLP(gpv3-0, INPUT, DOWN);
		PIN_SLP(gpv3-1, INPUT, DOWN);
		PIN_SLP(gpv3-2, INPUT, DOWN);
		PIN_SLP(gpv3-3, INPUT, DOWN);
		PIN_SLP(gpv3-4, INPUT, DOWN);
		PIN_SLP(gpv3-5, INPUT, DOWN);
		PIN_SLP(gpv3-6, INPUT, DOWN);
		PIN_SLP(gpv3-7, INPUT, DOWN);

		PIN_SLP(gpv4-0, INPUT, DOWN);
	};
};

&pwm {
	pinctrl-0 = <&pwm0_out>;
	pinctrl-names = "default";
	samsung,pwm-outputs = <0>;
	status = "okay";
};

&rtc {
	status = "okay";
	clocks = <&clock CLK_RTC>, <&max77686 MAX77686_CLK_AP>;
	clock-names = "rtc", "rtc_src";
};

&sdhci_2 {
	bus-width = <4>;
	cd-gpios = <&gpx3 4 GPIO_ACTIVE_HIGH>;
	cd-inverted;
	pinctrl-0 = <&sd2_clk &sd2_cmd &sd2_bus4 &sdhci2_cd>;
	pinctrl-names = "default";
	vmmc-supply = <&ldo21_reg>;
	status = "okay";
};

&sdhci_3 {
	#address-cells = <1>;
	#size-cells = <0>;
	non-removable;
	bus-width = <4>;

	mmc-pwrseq = <&wlan_pwrseq>;
	pinctrl-names = "default";
	pinctrl-0 = <&sd3_clk &sd3_cmd &sd3_bus4>;
	status = "okay";

	brcmf: wifi@1 {
		reg = <1>;
		compatible = "brcm,bcm4329-fmac";
		interrupt-parent = <&gpx2>;
		interrupts = <5 IRQ_TYPE_NONE>;
		interrupt-names = "host-wake";
	};
};

&serial_0 {
	status = "okay";
};

&serial_1 {
	status = "okay";
};

&serial_2 {
	status = "okay";
};

&serial_3 {
	status = "okay";
};

&spi_1 {
	pinctrl-names = "default";
	pinctrl-0 = <&spi1_bus>;
	cs-gpios = <&gpb 5 GPIO_ACTIVE_HIGH>;
	status = "okay";

	s5c73m3_spi: s5c73m3@0 {
		compatible = "samsung,s5c73m3";
		spi-max-frequency = <50000000>;
		reg = <0>;
		controller-data {
			samsung,spi-feedback-delay = <2>;
		};
	};
};

&tmu {
	vtmu-supply = <&ldo10_reg>;
	status = "okay";
};
